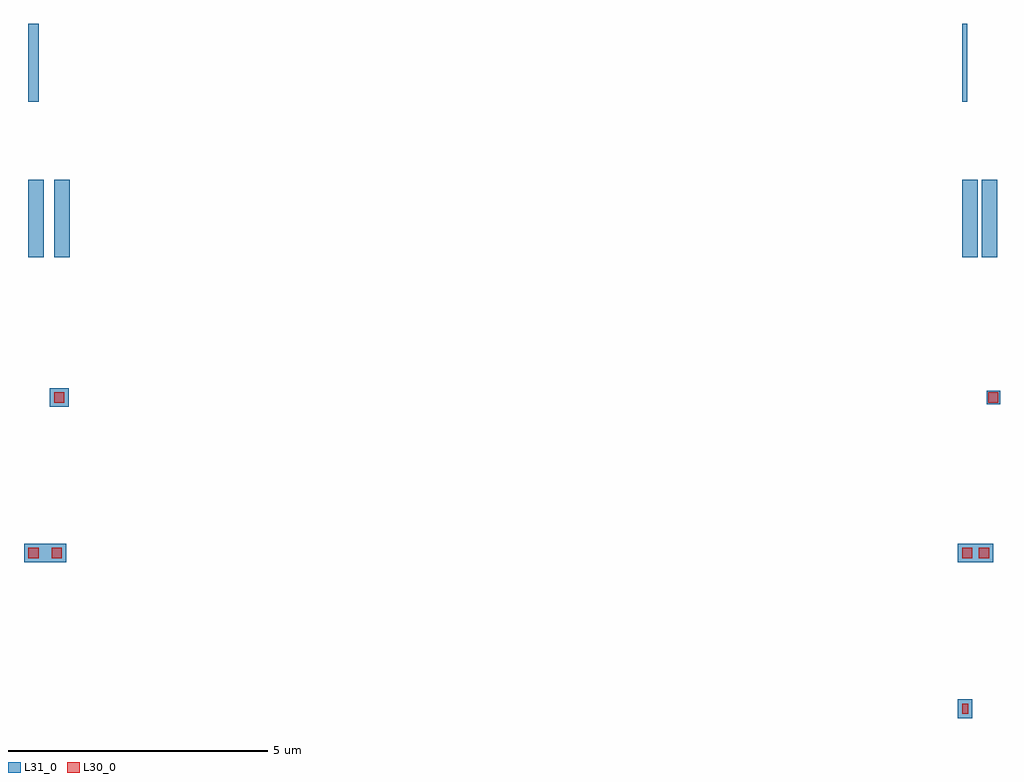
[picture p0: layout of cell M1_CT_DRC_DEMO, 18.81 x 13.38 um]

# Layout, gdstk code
import gdstk
lib = gdstk.Library(unit=1e-6, precision=1e-09)
def R(c, l, rs):  # rectangles x0, y0, x1, y1
    for r in rs: c.add(gdstk.rectangle(r[:2], r[2:], *l))
L30_0 = (30, 0)
L31_0 = (31, 0)

m1_ct_good = lib.new_cell('M1_CT_GOOD')
R(m1_ct_good, L30_0, [(8,3.2,8.2,3.4), (8.45,3.2,8.65,3.4), (8.5,6.2,8.7,6.4)])
R(m1_ct_good, L31_0, [(7.92,3.12,8.73,3.48), (8.42,6.12,8.78,6.48), (8,9,8.3,10.5), (8.5,9,8.8,10.5), (8,12,8.2,13.5)])
m1_ct_good.add(gdstk.Label('GOOD M1 width 0.20um', (0.2,12.35), layer=90, texttype=0))
m1_ct_good.add(gdstk.Label('GOOD M1 space 0.20um', (0.2,9.35), layer=90, texttype=0))
m1_ct_good.add(gdstk.Label('GOOD CT 0.20 + M1 enc 0.08', (0.2,6.35), layer=90, texttype=0))
m1_ct_good.add(gdstk.Label('GOOD CT space 0.25um', (0.2,3.35), layer=90, texttype=0))
m1_ct_good.add(gdstk.Label('M1_CT_GOOD â\x80\x94 expect DRC PASS', (0.2,14.5), layer=90, texttype=0))

m1_ct_bad = lib.new_cell('M1_CT_BAD')
R(m1_ct_bad, L30_0, [(8,0.2,8.12,0.4), (8,3.2,8.2,3.4), (8.32,3.2,8.52,3.4), (8.5,6.2,8.7,6.4)])
R(m1_ct_bad, L31_0, [(7.92,0.12,8.2,0.48), (7.92,3.12,8.6,3.48), (8.47,6.17,8.73,6.43), (8,9,8.3,10.5), (8.38,9,8.68,10.5), (8,12,8.1,13.5)])
m1_ct_bad.add(gdstk.Label('BAD M1 width 0.10um', (0.2,12.35), layer=90, texttype=0))
m1_ct_bad.add(gdstk.Label('BAD M1 space 0.08um', (0.2,9.35), layer=90, texttype=0))
m1_ct_bad.add(gdstk.Label('BAD M1 enc 0.03 (<0.055)', (0.2,6.35), layer=90, texttype=0))
m1_ct_bad.add(gdstk.Label('BAD CT space 0.12um', (0.2,3.35), layer=90, texttype=0))
m1_ct_bad.add(gdstk.Label('BAD CT width 0.12um', (0.2,0.35), layer=90, texttype=0))
m1_ct_bad.add(gdstk.Label('M1_CT_BAD â\x80\x94 expect DRC FAIL', (0.2,14.5), layer=90, texttype=0))

m1_ct_drc_demo = lib.new_cell('M1_CT_DRC_DEMO')
m1_ct_drc_demo.add(gdstk.Reference(m1_ct_good, (0,0)))
m1_ct_drc_demo.add(gdstk.Reference(m1_ct_bad, (18,0)))
m1_ct_drc_demo.add(gdstk.Label('GOOD', (0.2,15.5), layer=90, texttype=0))
m1_ct_drc_demo.add(gdstk.Label('BAD', (18.2,15.5), layer=90, texttype=0))
m1_ct_drc_demo.add(gdstk.Label('M1/Contact DRC â\x80\x94 GOOD vs BAD', (0.2,16.3), layer=90, texttype=0))
m1_ct_drc_demo.add(gdstk.Label('Layers: M1=31/0  CT=30/0  Labels=90/0', (0.2,-1.2), layer=90, texttype=0))

lib.write_gds('M1_CT_DRC_DEMO.gds')
